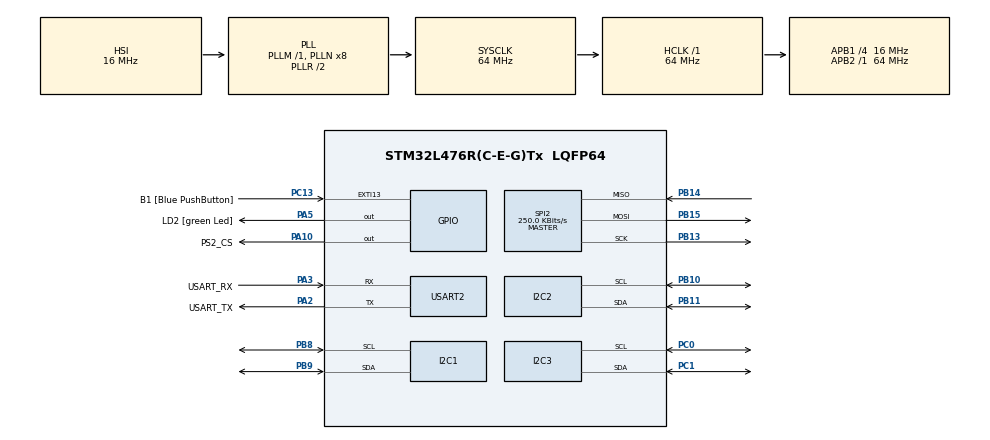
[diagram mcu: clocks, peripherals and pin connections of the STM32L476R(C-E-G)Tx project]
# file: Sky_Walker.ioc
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I2C1.Timing=0x00503D58
I2C2.Timing=0x00503D58
I2C3.Timing=0x00503D58
Mcu.Family=STM32L4
Mcu.Name=STM32L476R(C-E-G)Tx
Mcu.Package=LQFP64
NVIC.PriorityGroup=NVIC_PRIORITYGROUP_4
NVIC.TIM6_DAC_IRQn=true\:0\:0\:false\:false\:true\:true\:true\:true
PA10.GPIO_Label=PS2_CS
PA10.Signal=GPIO_Output
PA13\ (JTMS-SWDIO).GPIO_Label=TMS
PA13\ (JTMS-SWDIO).Mode=Serial_Wire
PA13\ (JTMS-SWDIO).Signal=SYS_JTMS-SWDIO
PA14\ (JTCK-SWCLK).GPIO_Label=TCK
PA14\ (JTCK-SWCLK).Mode=Serial_Wire
PA14\ (JTCK-SWCLK).Signal=SYS_JTCK-SWCLK
PA2.GPIO_Label=USART_TX
PA2.GPIO_Mode=GPIO_MODE_AF_PP
PA2.GPIO_PuPd=GPIO_NOPULL
PA2.GPIO_Speed=GPIO_SPEED_FREQ_VERY_HIGH
PA2.Mode=Asynchronous
PA2.Signal=USART2_TX
PA3.GPIO_Label=USART_RX
PA3.GPIO_Mode=GPIO_MODE_AF_PP
PA3.GPIO_PuPd=GPIO_NOPULL
PA3.GPIO_Speed=GPIO_SPEED_FREQ_VERY_HIGH
PA3.Mode=Asynchronous
PA3.Signal=USART2_RX
PA5.GPIO_Label=LD2 [green Led]
PA5.GPIO_ModeDefaultOutputPP=GPIO_MODE_OUTPUT_PP
PA5.GPIO_PuPd=GPIO_NOPULL
PA5.GPIO_Speed=GPIO_SPEED_FREQ_LOW
PA5.Signal=GPIO_Output
PB10.GPIO_Pu=GPIO_PULLUP
PB10.Mode=I2C
PB10.Signal=I2C2_SCL
PB11.GPIO_Pu=GPIO_PULLUP
PB11.Mode=I2C
PB11.Signal=I2C2_SDA
PB13.Mode=Full_Duplex_Master
PB13.Signal=SPI2_SCK
PB14.Mode=Full_Duplex_Master
PB14.Signal=SPI2_MISO
PB15.Mode=Full_Duplex_Master
PB15.Signal=SPI2_MOSI
PB3\ (JTDO-TRACESWO).GPIO_Label=SWO
PB3\ (JTDO-TRACESWO).Signal=SYS_JTDO-SWO
PB8.GPIO_Pu=GPIO_PULLUP
PB8.Mode=I2C
PB8.Signal=I2C1_SCL
PB9.GPIO_Pu=GPIO_PULLUP
PB9.Mode=I2C
PB9.Signal=I2C1_SDA
PC0.GPIO_Pu=GPIO_PULLUP
PC0.Mode=I2C
PC0.Signal=I2C3_SCL
PC1.GPIO_Pu=GPIO_PULLUP
PC1.Mode=I2C
PC1.Signal=I2C3_SDA
PC13.GPIO_Label=B1 [Blue PushButton]
PC13.GPIO_ModeDefaultEXTI=GPIO_MODE_IT_FALLING
PC13.GPIO_PuPd=GPIO_NOPULL
PC13.Signal=GPXTI13
PC14-OSC32_IN\ (PC14).Mode=LSE-External-Oscillator
PC14-OSC32_IN\ (PC14).Signal=RCC_OSC32_IN
PC15-OSC32_OUT\ (PC15).Mode=LSE-External-Oscillator
PC15-OSC32_OUT\ (PC15).Signal=RCC_OSC32_OUT
PH0-OSC_IN\ (PH0).Signal=RCC_OSC_IN
PH1-OSC_OUT\ (PH1).Signal=RCC_OSC_OUT
ProjectManager.HeapSize=0x200
ProjectManager.StackSize=0x400
ProjectManager.TargetToolchain=STM32CubeIDE
RCC.ADCFreq_Value=64000000
RCC.AHBFreq_Value=64000000
RCC.APB1CLKDivider=RCC_HCLK_DIV4
RCC.APB1Freq_Value=16000000
RCC.APB1TimFreq_Value=32000000
RCC.APB2Freq_Value=64000000
RCC.APB2TimFreq_Value=64000000
RCC.CortexFreq_Value=64000000
RCC.HCLKFreq_Value=64000000
RCC.HSE_VALUE=8000000
RCC.HSI_VALUE=16000000
RCC.MSI_VALUE=4000000
RCC.PLLSourceVirtual=RCC_PLLSOURCE_HSI
RCC.PREFETCH_ENABLE=1
RCC.SYSCLKFreq_VALUE=64000000
RCC.SYSCLKSource=RCC_SYSCLKSOURCE_PLLCLK
RCC.USBFreq_Value=64000000
RCC.VCOOutputFreq_Value=128000000
SPI2.BaudRatePrescaler=SPI_BAUDRATEPRESCALER_64
SPI2.CLKPhase=SPI_PHASE_1EDGE
SPI2.CLKPolarity=SPI_POLARITY_LOW
SPI2.CalculateBaudRate=250.0 KBits/s
SPI2.DataSize=SPI_DATASIZE_8BIT
SPI2.Direction=SPI_DIRECTION_2LINES
SPI2.FirstBit=SPI_FIRSTBIT_LSB
SPI2.Mode=SPI_MODE_MASTER
SPI2.VirtualType=VM_MASTER
TIM6.AutoReloadPreload=TIM_AUTORELOAD_PRELOAD_ENABLE
TIM6.Period=20-1
TIM6.Prescaler=32000-1
USART2.VirtualMode-Asynchronous=VM_ASYNC
VP_TIM6_VS_ClockSourceINT.Mode=Enable_Timer
board=NUCLEO-L476RG

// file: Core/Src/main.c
/* USER CODE BEGIN Header */
/**
 ******************************************************************************
 * @file           : main.c
 * @brief          : Main program body
 ******************************************************************************
 * @attention
 *
 * Copyright (c) 2025 STMicroelectronics.
 * All rights reserved.
 *
 * This software is licensed under terms that can be found in the LICENSE file
 * in the root directory of this software component.
 * If no LICENSE file comes with this software, it is provided AS-IS.
 *
 ******************************************************************************
 */
/* USER CODE END Header */
#include "main.h"
#include "i2c.h"
#include "spi.h"
#include "tim.h"
#include "usart.h"
#include "gpio.h"

/* USER CODE BEGIN Includes */
#include "stdbool.h"
#include "stdlib.h"
#include "walker.h"
/* USER CODE END Includes */

/* USER CODE BEGIN PV */
bool success = true; // Флаг успешной работы программы
uint8_t flag_mode = 0;

/* USER CODE END PV */

void SystemClock_Config(void);
/* USER CODE BEGIN PFP */
void HAL_TIM_PeriodElapsedCallback(TIM_HandleTypeDef *htim); // Функция обработчик прерываний
/* USER CODE END PFP */

int main(void) {

	/* MCU Configuration--------------------------------------------------------*/

	/* Reset of all peripherals, Initializes the Flash interface and the Systick. */
	HAL_Init();

	/* Configure the system clock */
	SystemClock_Config();

	/* Initialize all configured peripherals */
	MX_GPIO_Init();
	MX_USART2_UART_Init();
	MX_I2C1_Init();
	MX_I2C2_Init();
	MX_I2C3_Init();
	MX_SPI2_Init();
	MX_TIM6_Init();
	/* USER CODE BEGIN 2 */
	HAL_TIM_Base_Start_IT(&htim6); // Запуск таймера №6 с прерыванием
	success &= walker_init(&pca_left, &pca_right); // Инициализация робота
	/* USER CODE END 2 */

	/* Infinite loop */
	while (1) {

		/* USER CODE BEGIN 3 */
		if (flag_mode == 1) {
			walker_read_mode(&ps); // Выбор режима работы робота
			flag_mode = 0;
		}
		if (mode != 99) { // Перестановка ног робота
			for (uint8_t i = 0; i < 6; i++) { // Расчёт обратной кинематики для каждой ноги
				success &= walker_calc_ik(i, sky_walker[i].X + offset_x[i],
						sky_walker[i].Y + offset_y[i],
						sky_walker[i].Z + offset_z[i]);
			}
		}

		if (mode == 1) { // Движение робота
			if (gait == 0)
				walker_tripod_mode(&ps); 	// Режим "Треугольник"
			if (gait == 1)
				walker_wave_mode(&ps);		// Режим "Волна"
			if (gait == 2)
				walker_tetrapod_mode(&ps); 	// Режим "Тетрапод"
			if (gait == 3)
				walker_ripple_mode(&ps);		// Режим "Насекомое"
		}

		if (mode == 2) {
			walker_move_body(&ps); // Перемещение корпуса
		}

		if (mode == 3) {
			walker_rotate_body(&ps); // Поворот корпуса
		}

		if (mode == 4) {
			success &= walker_lift_leg(&ps); // Подъем передних ног
		}

		if (mode == 99) { // Установка сервоприводов в нейтральное положение
			success &= walker_servo_nelrtal();
		}

		if (success == true)
			HAL_GPIO_WritePin(LD2_GPIO_Port, LD2_Pin, GPIO_PIN_SET);
		else
			HAL_GPIO_WritePin(LD2_GPIO_Port, LD2_Pin, GPIO_PIN_RESET);

	}
	/* USER CODE END 3 */
}

void SystemClock_Config(void) {
	RCC_OscInitTypeDef RCC_OscInitStruct = { 0 };
	RCC_ClkInitTypeDef RCC_ClkInitStruct = { 0 };

	/** Configure the main internal regulator output voltage
	 */
	if (HAL_PWREx_ControlVoltageScaling(PWR_REGULATOR_VOLTAGE_SCALE1)
			!= HAL_OK) {
		Error_Handler();
	}

	/** Initializes the RCC Oscillators according to the specified parameters
	 * in the RCC_OscInitTypeDef structure.
	 */
	RCC_OscInitStruct.OscillatorType = RCC_OSCILLATORTYPE_HSI;
	RCC_OscInitStruct.HSIState = RCC_HSI_ON;
	RCC_OscInitStruct.HSICalibrationValue = RCC_HSICALIBRATION_DEFAULT;
	RCC_OscInitStruct.PLL.PLLState = RCC_PLL_ON;
	RCC_OscInitStruct.PLL.PLLSource = RCC_PLLSOURCE_HSI;
	RCC_OscInitStruct.PLL.PLLM = 1;
	RCC_OscInitStruct.PLL.PLLN = 8;
	RCC_OscInitStruct.PLL.PLLP = RCC_PLLP_DIV7;
	RCC_OscInitStruct.PLL.PLLQ = RCC_PLLQ_DIV2;
	RCC_OscInitStruct.PLL.PLLR = RCC_PLLR_DIV2;
	if (HAL_RCC_OscConfig(&RCC_OscInitStruct) != HAL_OK) {
		Error_Handler();
	}

	/** Initializes the CPU, AHB and APB buses clocks
	 */
	RCC_ClkInitStruct.ClockType = RCC_CLOCKTYPE_HCLK | RCC_CLOCKTYPE_SYSCLK
			| RCC_CLOCKTYPE_PCLK1 | RCC_CLOCKTYPE_PCLK2;
	RCC_ClkInitStruct.SYSCLKSource = RCC_SYSCLKSOURCE_PLLCLK;
	RCC_ClkInitStruct.AHBCLKDivider = RCC_SYSCLK_DIV1;
	RCC_ClkInitStruct.APB1CLKDivider = RCC_HCLK_DIV4;
	RCC_ClkInitStruct.APB2CLKDivider = RCC_HCLK_DIV1;

	if (HAL_RCC_ClockConfig(&RCC_ClkInitStruct, FLASH_LATENCY_3) != HAL_OK) {
		Error_Handler();
	}
}

/* USER CODE BEGIN 4 */
void HAL_TIM_PeriodElapsedCallback(TIM_HandleTypeDef *htim) // Функция обработчик прерываний
{
	if (htim->Instance == TIM6) // Прерывание от таймерв 6
	{ // Чтение данных с джойстика
		success &= PS2_ReadData(&ps);
		flag_mode = 1;
	}
}
/* USER CODE END 4 */

void Error_Handler(void) {
	__disable_irq();
	while (1) {
	}
}
